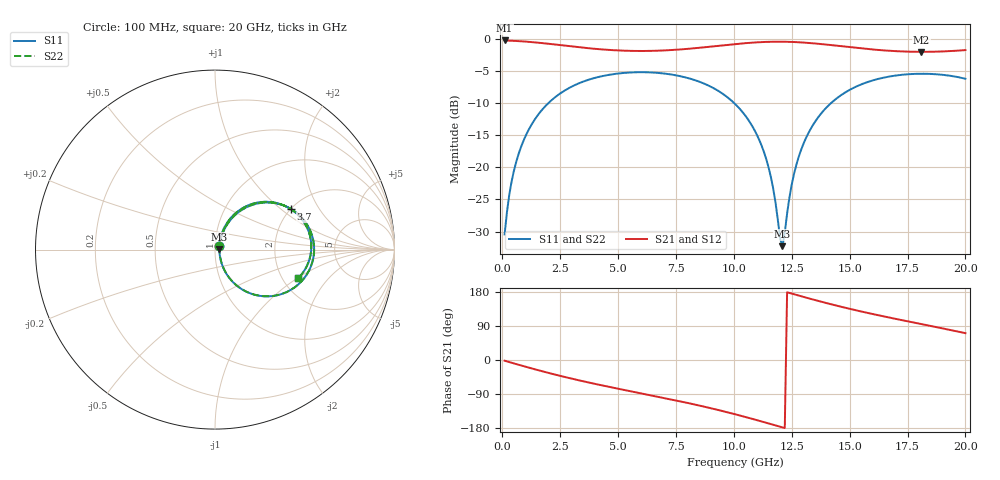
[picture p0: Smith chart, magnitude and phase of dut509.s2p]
! Touchstone file exported from HFSS 2026.1.0
!  File:  C:/ffzhzh/LocalFiles/Ansys_Project_Files/temp_train_TSV_RDL_509_1783108717_53076.aedt
!  Generated:  04:17:01 AM Jul  4, 2026
!  Design:  TSV_RDL
!  Project:  temp_train_TSV_RDL_509_1783108717_53076
! Variables:
!  h_bsmrdl = 2.62um
!  h_ox = 20um
!  h_rdl = 5um
!  h_sub = 87.44um
!  h_tmrdl = 3.94um
!  h_tsv = 87.44um
!  h_via = 3um
!  l_bsmrdl = 793.52um
!  l_sub = 4899.79um
!  l_tmrdl = 491.07um
!  m_sub = 200um
!  pitch = 55.57um
!  r_tsv = 4.27um
!  s_tmrdl = 10um
!  w_bsmrdl = 28.53um
!  w_sub = 500um
!  w_tmrdl = 23.12um
!  x_tsv_center1 = 502.63um
!  x_tsv_center2 = 1324.68um
!  x_tsv_center3 = 1838.87um
!  x_tsv_center4 = 2660.92um
!  x_tsv_center5 = 3175.11um
!  x_tsv_center6 = 3997.16um
# GHz S MA R 50.000000
! Terminal data exported
! Port[1] = TM_RDL1_1_T1
! Port[2] = TM_RDL5_1_T1
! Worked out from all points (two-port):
!   200 points, 100 MHz to 20 GHz, reference 50 ohm
!   highest |S21| = -0.21 dB at 100 MHz (marker M1); lowest = -2.0 dB at 18.1 GHz (marker M2)
!   |S21| within 3 dB of the highest: start of sweep to end of sweep
!   lowest |S11| = -32.3 dB at 12.1 GHz (marker M3), VSWR 1.05, Z = 52.5 + j0.328 ohm
!   |S11| at or under -10 dB: start of sweep to 1.983 GHz; 10.02 GHz to 14.19 GHz (4.165 GHz wide, 34.4 % of centre)
!   |S22| runs from -32.1 to -5.2 dB; largest |S21 - S12| = 1.7e-14
!   S11 on the Smith chart (normalised r, x): 100 MHz: 1.05, +0.04; 3.7 GHz: 2.01, +1.18; 20 GHz: 2.44, -1.01
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0.1  0.03004 37.7  0.9767 -1.9  0.9767 -1.9  0.03004 37.7
! Gamma 0 0 0 0
! Port Impedance 50 0 50 0
0.3  0.06083 60.2  0.9734 -5.5  0.9734 -5.5  0.06083 60.2
0.5  0.09374 64.7  0.9696 -9.0  0.9696 -9.0  0.09374 64.7
1.1  0.1905 62.2  0.9542 -19.4  0.9542 -19.4  0.1905 62.2
2.1  0.3309 49.5  0.9159 -35.7  0.9159 -35.7  0.3309 49.5
3.5  0.467 30.6  0.8575 -56.3  0.8575 -56.3  0.467 30.6
3.7  0.4807 28.1  0.8503 -59.0  0.8503 -59.0  0.4807 28.1
5.3  0.5461 8.5  0.8124 -79.5  0.8124 -79.5  0.5461 8.5
6.8  0.5439 -9.2  0.8137 -97.9  0.8137 -97.9  0.5439 -9.2
8.6  0.4591 -31.5  0.8595 -121.4  0.8595 -121.4  0.4591 -31.5
10.1  0.3065 -51.9  0.9168 -143.9  0.9168 -143.9  0.3065 -51.8
10.8  0.2091 -60.9  0.9393 -155.4  0.9393 -155.4  0.2091 -60.8
11.3  0.1318 -65.3  0.9501 -163.9  0.9501 -163.9  0.1319 -65.1
11.7  0.06839 -62.0  0.9546 -170.8  0.9546 -170.8  0.06854 -61.6
12  0.02784 -27.6  0.9553 -176.1  0.9553 -176.1  0.02825 -27.1
12.1  0.02431 7.4  0.955 -177.8  0.955 -177.8  0.0248 7.3
12.6  0.08917 66.4  0.9495 173.5  0.9495 173.5  0.08932 66.1
13.4  0.2116 62.3  0.9289 159.9  0.9289 159.9  0.2117 62.2
14.7  0.3731 45.4  0.8785 139.5  0.8785 139.5  0.3731 45.3
16.7  0.5104 20.1  0.8119 112.2  0.8119 112.2  0.5105 20.0
18.1  0.5372 3.7  0.796 94.8  0.796 94.8  0.5373 3.6
20  0.491 -18.7  0.8215 70.8  0.8215 70.8  0.4911 -18.7
